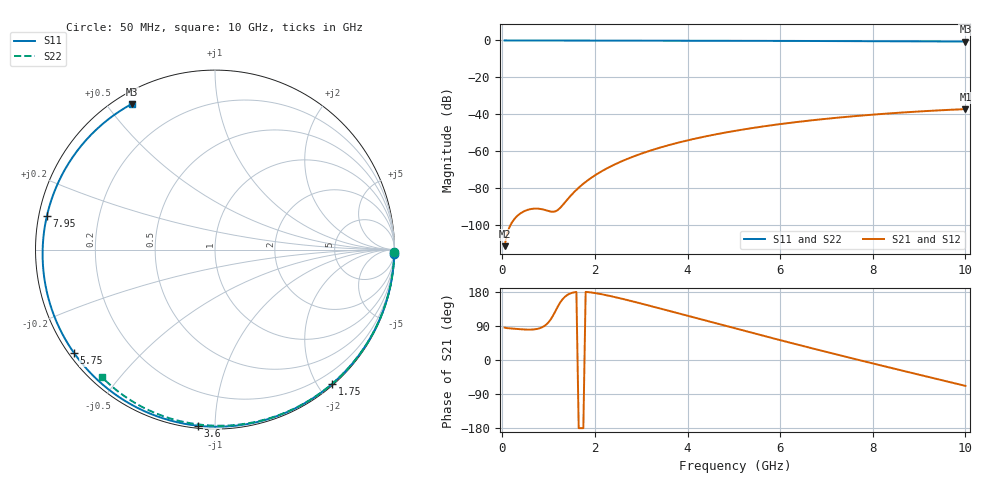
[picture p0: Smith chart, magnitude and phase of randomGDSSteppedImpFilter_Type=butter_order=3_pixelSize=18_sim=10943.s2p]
! freq	dB(S11)	phase(S11)	dB(S12)	phase(S12)
!  dB(S21)	phase(S21)	dB(S22)	phase(S22)
!S-par simulation data
#  GHz  S  DB  R 50
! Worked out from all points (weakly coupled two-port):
!   200 points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, 50 MHz to 10 GHz, reference 50 ohm
!   highest |S21| = -37.14 dB at 10 GHz (marker M1); lowest = -111.3 dB at 50 MHz (marker M2)
!   lowest |S11| = -0.6 dB at 10 GHz (marker M3), VSWR 29.55, Z = 2.26 + j29 ohm
!   |S11| at or under -10 dB: nowhere
!   |S22| runs from -0.5 to 0.0 dB; largest |S21 - S12| = 0
!   S11 on the Smith chart (normalised r, x): 50 MHz: 2, -83; 1.75 GHz: 0.02, -2.20; 3.6 GHz: 0.01, -0.91; 5.75 GHz: 0.01, -0.33; 7.95 GHz: 0.02, +0.10; 10 GHz: 0.05, +0.58
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0.05  -0.01 -1.4  -111.26 85.5  -111.26 85.5  -0.01 -0.7
0.45  -0.02 -12.8  -92.65 80.7  -92.65 80.7  -0.01 -6.8
0.8  -0.03 -22.7  -91.04 83.5  -91.04 83.5  -0.02 -12.1
1.2  -0.04 -33.9  -91.67 141.2  -91.67 141.2  -0.02 -18.1
1.6  -0.06 -44.8  -80.80 179.6  -80.80 179.6  -0.03 -24.1
1.65  -0.06 -46.1  -79.63 -179.9  -79.63 -179.9  -0.03 -24.8
1.75  -0.06 -48.8  -77.48 -179.9  -77.48 -179.9  -0.03 -26.3
2.05  -0.07 -56.8  -72.17 175.7  -72.17 175.7  -0.04 -30.7
2.45  -0.08 -67.2  -66.80 165.5  -66.80 165.5  -0.05 -36.5
2.9  -0.10 -78.6  -62.12 152.0  -62.12 152.0  -0.06 -43.0
3.4  -0.12 -90.8  -58.00 136.2  -58.00 136.2  -0.07 -50.0
3.6  -0.12 -95.6  -56.58 129.7  -56.58 129.7  -0.07 -52.8
4.3  -0.15 -111.8  -52.36 107.0  -52.36 107.0  -0.09 -62.4
5.05  -0.19 -128.6  -48.78 82.7  -48.78 82.7  -0.11 -72.4
5.75  -0.23 -143.8  -46.08 60.3  -46.08 60.3  -0.14 -81.5
6.25  -0.26 -154.5  -44.44 44.6  -44.44 44.6  -0.16 -87.8
6.7  -0.29 -164.1  -43.14 30.5  -43.14 30.5  -0.18 -93.3
7.35  -0.35 -178.1  -41.51 10.6  -41.51 10.6  -0.22 -101.2
7.95  -0.40 168.6  -40.22 -7.6  -40.22 -7.6  -0.26 -108.3
8.35  -0.43 159.6  -39.47 -19.5  -39.47 -19.5  -0.29 -113.0
9.15  -0.51 140.9  -38.19 -43.2  -38.19 -43.2  -0.36 -122.2
10  -0.59 119.7  -37.14 -68.3  -37.14 -68.3  -0.45 -131.7
